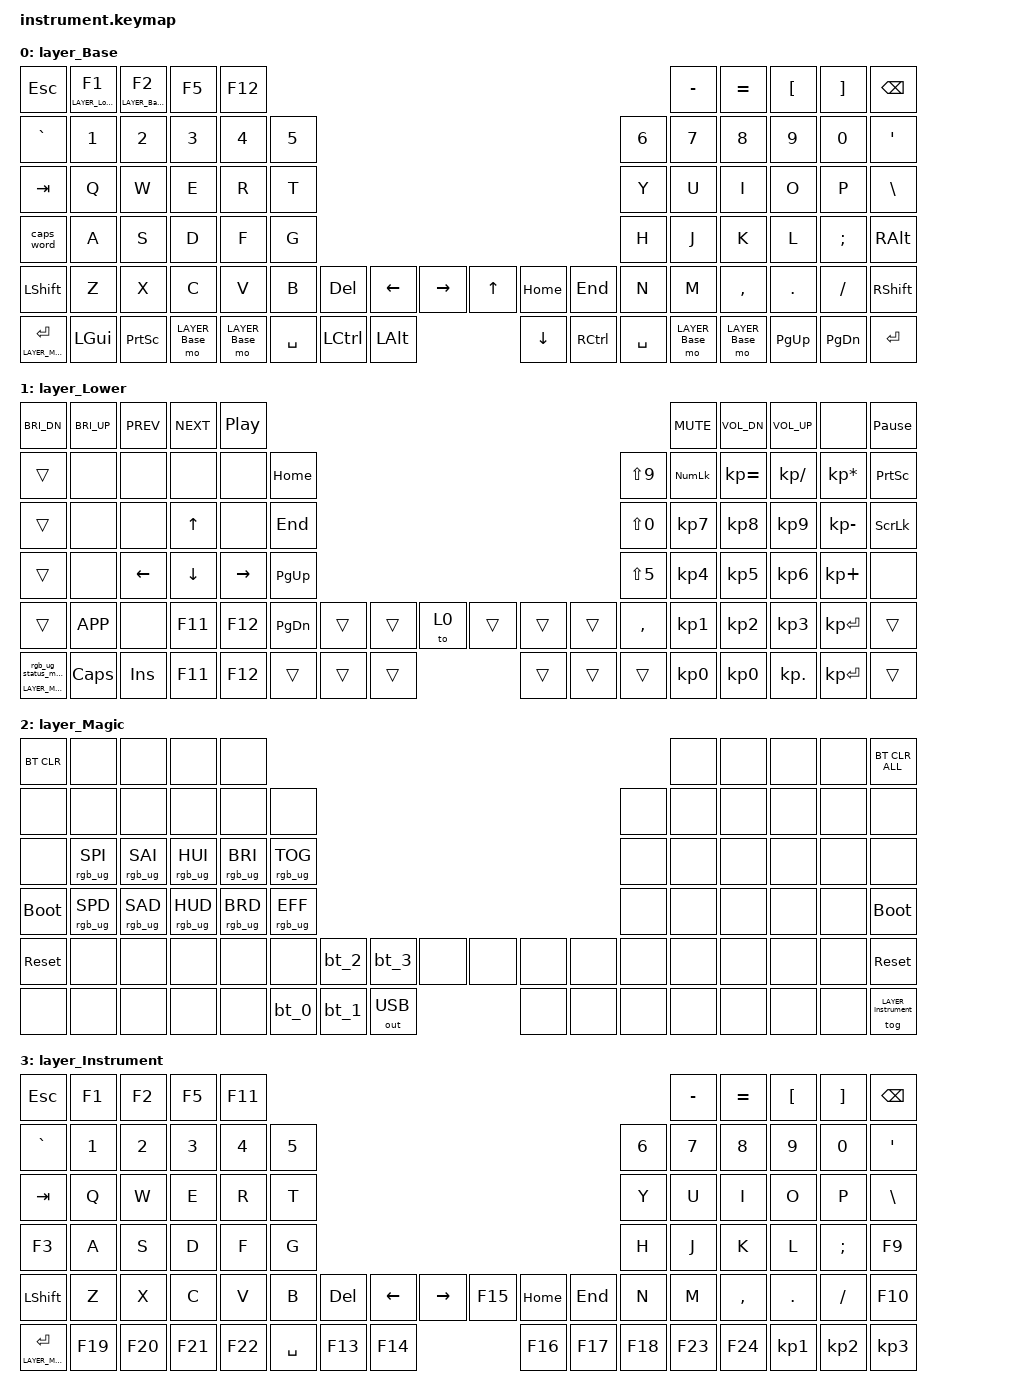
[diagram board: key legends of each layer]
/*
 * Copyright (c) 2020 The ZMK Contributors
 * Copyright (c) 2025 Innaworks Development Limited, trading as MoErgo
 *
 * SPDX-License-Identifier: MIT
 */


/* THIS FILE WAS GENERATED BY GLOVE80 LAYOUT EDITOR
 *
 * This file was generated automatically. You may or may not want to
 * edit it directly.
 */

#include <behaviors.dtsi>
/* Include all behavior includes needed */
#include <dt-bindings/zmk/outputs.h>
#include <dt-bindings/zmk/keys.h>
#include <dt-bindings/zmk/bt.h>
#include <dt-bindings/zmk/rgb.h>

/* On demand includes */


/* Helper Macros, based on https://github.com/urob/zmk-helpers/ */

#pragma once

#define ZMK_HELPER_STRINGIFY(x) #x

// Preprocessor mechanism to overload macros, cf. https://stackoverflow.com/a/27051616/6114651
#define VARGS_(_10, _9, _8, _7, _6, _5, _4, _3, _2, _1, N, ...) N
#define VARGS(...) VARGS_(__VA_ARGS__, 10, 9, 8, 7, 6, 5, 4, 3, 2, 1, 0)
#define CONCAT_(a, b) a##b
#define CONCAT(a, b) CONCAT_(a, b)

#define ZMK_BEHAVIOR_CORE_tap_dance  \
    compatible = "zmk,behavior-tap-dance"; \
    #binding-cells = <0>

#define ZMK_BEHAVIOR(name, type, ...) \
    name: name { \
        ZMK_BEHAVIOR_CORE_ ## type; \
        __VA_ARGS__ \
    };

#define ZMK_TAP_DANCE(name, ...) \
    ZMK_BEHAVIOR(name, tap_dance, __VA_ARGS__)

#define ZMK_TD_LAYER(name, layer) \
    ZMK_TAP_DANCE(name, \
        tapping-term-ms = <200>; \
        bindings = <&mo layer>, <&to layer>; \
)

/* Environment and metadata defines */
#define KB_TYPE_GLOVE_80 1
#define KB_TYPE_GO_60    2

#define KB_TYPE          KB_TYPE_GLOVE_80
#define EDITOR_HOST_OS   'L'

/* Automatically generated layer name defines */
#define LAYER_Base 0
#define LAYER_Lower 1
#define LAYER_Magic 2
#define LAYER_Instrument 3

/* To deal with the situation where there is no Lower layer, to keep &lower happy */
#ifndef LAYER_Lower
#define LAYER_Lower 0
#endif

/* Custom Device-tree */


/* Input Listeners */


/* System behavior and Macros */
/ {
    behaviors {
        ZMK_TD_LAYER(lower, LAYER_Lower)
    };
};

/ {
    macros {
        rgb_ug_status_macro: rgb_ug_status_macro {
            label = "RGB_UG_STATUS";
            compatible = "zmk,behavior-macro";
            #binding-cells = <0>;
            bindings
                = <&rgb_ug RGB_STATUS>;
        };
    };
};


/ {
#ifdef BT_DISC_CMD
    behaviors {
        bt_0: bt_0 {
            compatible = "zmk,behavior-tap-dance";
            label = "BT_0";
            #binding-cells = <0>;
            tapping-term-ms = <200>;
            bindings = <&bt_select_0>, <&bt BT_DISC 0>;
        };
        bt_1: bt_1 {
            compatible = "zmk,behavior-tap-dance";
            label = "BT_1";
            #binding-cells = <0>;
            tapping-term-ms = <200>;
            bindings = <&bt_select_1>, <&bt BT_DISC 1>;
        };
        bt_2: bt_2 {
            compatible = "zmk,behavior-tap-dance";
            label = "BT_2";
            #binding-cells = <0>;
            tapping-term-ms = <200>;
            bindings = <&bt_select_2>, <&bt BT_DISC 2>;
        };
        bt_3: bt_3 {
            compatible = "zmk,behavior-tap-dance";
            label = "BT_3";
            #binding-cells = <0>;
            tapping-term-ms = <200>;
            bindings = <&bt_select_3>, <&bt BT_DISC 3>;
        };
    };
    macros {
        bt_select_0: bt_select_0 {
            label = "BT_SELECT_0";
            compatible = "zmk,behavior-macro";
            #binding-cells = <0>;
            bindings
                = <&out OUT_BLE>,
                  <&bt BT_SEL 0>;
        };
        bt_select_1: bt_select_1 {
            label = "BT_SELECT_1";
            compatible = "zmk,behavior-macro";
            #binding-cells = <0>;
            bindings
                = <&out OUT_BLE>,
                  <&bt BT_SEL 1>;
        };
        bt_select_2: bt_select_2 {
            label = "BT_SELECT_2";
            compatible = "zmk,behavior-macro";
            #binding-cells = <0>;
            bindings
                = <&out OUT_BLE>,
                  <&bt BT_SEL 2>;
        };
        bt_select_3: bt_select_3 {
            label = "BT_SELECT_3";
            compatible = "zmk,behavior-macro";
            #binding-cells = <0>;
            bindings
                = <&out OUT_BLE>,
                  <&bt BT_SEL 3>;
        };
    };
#else
    macros {
        bt_0: bt_0 {
            label = "BT_0";
            compatible = "zmk,behavior-macro";
            #binding-cells = <0>;
            bindings
                = <&out OUT_BLE>,
                  <&bt BT_SEL 0>;
        };
        bt_1: bt_1 {
            label = "BT_1";
            compatible = "zmk,behavior-macro";
            #binding-cells = <0>;
            bindings
                = <&out OUT_BLE>,
                  <&bt BT_SEL 1>;
        };
        bt_2: bt_2 {
            label = "BT_2";
            compatible = "zmk,behavior-macro";
            #binding-cells = <0>;
            bindings
                = <&out OUT_BLE>,
                  <&bt BT_SEL 2>;
        };
        bt_3: bt_3 {
            label = "BT_3";
            compatible = "zmk,behavior-macro";
            #binding-cells = <0>;
            bindings
                = <&out OUT_BLE>,
                  <&bt BT_SEL 3>;
        };
    };
#endif
};

/ {
    behaviors {
        magic: magic {
            compatible = "zmk,behavior-hold-tap";
            label = "MAGIC_HOLD_TAP";
            #binding-cells = <2>;
            flavor = "tap-preferred";
            tapping-term-ms = <200>;
            bindings = <&mo>, <&rgb_ug_status_macro>;
        };
    };
};


/* Key positions */

#define POS_LH_C6R1 0
#define POS_LH_C5R1 1
#define POS_LH_C4R1 2
#define POS_LH_C3R1 3
#define POS_LH_C2R1 4
#define POS_RH_C2R1 5
#define POS_RH_C3R1 6
#define POS_RH_C4R1 7
#define POS_RH_C5R1 8
#define POS_RH_C6R1 9
#define POS_LH_C6R2 10
#define POS_LH_C5R2 11
#define POS_LH_C4R2 12
#define POS_LH_C3R2 13
#define POS_LH_C2R2 14
#define POS_LH_C1R2 15
#define POS_RH_C1R2 16
#define POS_RH_C2R2 17
#define POS_RH_C3R2 18
#define POS_RH_C4R2 19
#define POS_RH_C5R2 20
#define POS_RH_C6R2 21
#define POS_LH_C6R3 22
#define POS_LH_C5R3 23
#define POS_LH_C4R3 24
#define POS_LH_C3R3 25
#define POS_LH_C2R3 26
#define POS_LH_C1R3 27
#define POS_RH_C1R3 28
#define POS_RH_C2R3 29
#define POS_RH_C3R3 30
#define POS_RH_C4R3 31
#define POS_RH_C5R3 32
#define POS_RH_C6R3 33
#define POS_LH_C6R4 34
#define POS_LH_C5R4 35
#define POS_LH_C4R4 36
#define POS_LH_C3R4 37
#define POS_LH_C2R4 38
#define POS_LH_C1R4 39
#define POS_RH_C1R4 40
#define POS_RH_C2R4 41
#define POS_RH_C3R4 42
#define POS_RH_C4R4 43
#define POS_RH_C5R4 44
#define POS_RH_C6R4 45
#define POS_LH_C6R5 46
#define POS_LH_C5R5 47
#define POS_LH_C4R5 48
#define POS_LH_C3R5 49
#define POS_LH_C2R5 50
#define POS_LH_C1R5 51
#define POS_LH_T1 52
#define POS_LH_T2 53
#define POS_LH_T3 54
#define POS_RH_T3 55
#define POS_RH_T2 56
#define POS_RH_T1 57
#define POS_RH_C1R5 58
#define POS_RH_C2R5 59
#define POS_RH_C3R5 60
#define POS_RH_C4R5 61
#define POS_RH_C5R5 62
#define POS_RH_C6R5 63
#define POS_LH_C6R6 64
#define POS_LH_C5R6 65
#define POS_LH_C4R6 66
#define POS_LH_C3R6 67
#define POS_LH_C2R6 68
#define POS_LH_T4 69
#define POS_LH_T5 70
#define POS_LH_T6 71
#define POS_RH_T6 72
#define POS_RH_T5 73
#define POS_RH_T4 74
#define POS_RH_C2R6 75
#define POS_RH_C3R6 76
#define POS_RH_C4R6 77
#define POS_RH_C5R6 78
#define POS_RH_C6R6 79


/* Custom Defined Behaviors */
/ {

};

/* Generated input processors */


/* Automatically generated macro definitions */
/ {
    macros {

    };
};

/* Automatically generated behavior definitions */
/ {
    behaviors {


    };
};

/* Automatically generated combos definitions */


/* Automatically generated keymap */
/ {
    keymap {
        compatible = "zmk,keymap";


        layer_Base {
            bindings = <
             &kp ESC  &lt LAYER_Lower F1  &lt LAYER_Base F2          &kp F5         &kp F12                                                                                        &kp MINUS       &kp EQUAL   &kp LBKT   &kp RBKT   &kp BSPC
           &kp GRAVE              &kp N1             &kp N2          &kp N3          &kp N4  &kp N5                                                                   &kp N6          &kp N7          &kp N8     &kp N9     &kp N0    &kp SQT
             &kp TAB               &kp Q              &kp W           &kp E           &kp R   &kp T                                                                    &kp Y           &kp U           &kp I      &kp O      &kp P   &kp BSLH
          &caps_word               &kp A              &kp S           &kp D           &kp F   &kp G                                                                    &kp H           &kp J           &kp K      &kp L   &kp SEMI   &kp RALT
           &kp LSHFT               &kp Z              &kp X           &kp C           &kp V   &kp B    &kp DEL   &kp LEFT  &kp RIGHT    &kp UP   &kp HOME    &kp END   &kp N           &kp M       &kp COMMA    &kp DOT   &kp FSLH  &kp RSHFT
 &lt LAYER_Magic RET            &kp LGUI          &kp PSCRN  &mo LAYER_Base  &mo LAYER_Base          &kp SPACE  &kp LCTRL   &kp LALT  &kp DOWN  &kp RCTRL  &kp SPACE          &mo LAYER_Base  &mo LAYER_Base  &kp PG_UP  &kp PG_DN    &kp RET
            >;
        };

        layer_Lower {
            bindings = <
         &kp C_BRI_DN  &kp C_BRI_UP      &kp C_PREV      &kp C_NEXT         &kp C_PP                                                                         &kp C_MUTE  &kp C_VOL_DN  &kp C_VOL_UP            &none  &kp PAUSE_BREAK
               &trans         &none           &none           &none            &none   &kp HOME                                                  &kp LS(N9)  &kp KP_NUM  &kp KP_EQUAL  &kp KP_SLASH  &kp KP_MULTIPLY  &kp PRINTSCREEN
               &trans         &none           &none    &kp UP_ARROW            &none    &kp END                                                  &kp LS(N0)   &kp KP_N7     &kp KP_N8     &kp KP_N9     &kp KP_MINUS   &kp SCROLLLOCK
               &trans         &none  &kp LEFT_ARROW  &kp DOWN_ARROW  &kp RIGHT_ARROW  &kp PG_UP                                                  &kp LS(N5)   &kp KP_N4     &kp KP_N5     &kp KP_N6      &kp KP_PLUS            &none
               &trans     &kp K_APP           &none         &kp F11          &kp F12  &kp PG_DN  &trans  &trans   &to 0  &trans  &trans  &trans   &kp COMMA   &kp KP_N1     &kp KP_N2     &kp KP_N3     &kp KP_ENTER           &trans
 &magic LAYER_Magic 0      &kp CAPS         &kp INS         &kp F11          &kp F12             &trans  &trans  &trans  &trans  &trans  &trans               &kp KP_N0     &kp KP_N0    &kp KP_DOT     &kp KP_ENTER           &trans
            >;
        };

        layer_Magic {
            bindings = <
  &bt BT_CLR            &none            &none            &none            &none                                                                                  &none   &none   &none   &none  &bt BT_CLR_ALL
       &none            &none            &none            &none            &none            &none                                                         &none   &none   &none   &none   &none           &none
       &none  &rgb_ug RGB_SPI  &rgb_ug RGB_SAI  &rgb_ug RGB_HUI  &rgb_ug RGB_BRI  &rgb_ug RGB_TOG                                                         &none   &none   &none   &none   &none           &none
 &bootloader  &rgb_ug RGB_SPD  &rgb_ug RGB_SAD  &rgb_ug RGB_HUD  &rgb_ug RGB_BRD  &rgb_ug RGB_EFF                                                         &none   &none   &none   &none   &none     &bootloader
  &sys_reset            &none            &none            &none            &none            &none   &bt_2   &bt_3         &none   &none   &none   &none   &none   &none   &none   &none   &none      &sys_reset
       &none            &none            &none            &none            &none                    &bt_0   &bt_1  &out OUT_USB   &none   &none   &none           &none   &none   &none   &none  &tog LAYER_Instrument
            >;
        };

        layer_Instrument {
            // ═══════════════════════════════════════════════════════════════
            // INSTRUMENT MODE — all unique, non-modifier keycodes
            // Toggle: Magic + bottom-right key
            // ═══════════════════════════════════════════════════════════════
            //
            // R1: Controls (bridge: octave, semitone glide, reset per hand)
            //   LH: ESC=Reset  F1=Oct-  F2=Oct+  F5=Semi↓  F11=Semi↑
            //   RH: MINUS=Semi↓  EQUAL=Semi↑  LBKT=Oct-  RBKT=Oct+  BSPC=Reset
            //
            // R2-R5: Note grid (2 octave blocks per hand)
            //   LH: C2-B3  |  RH: C4-B5
            //   Bottom 2 rows = oct 1, top 2 rows = oct 2
            //   Right = whole step, up = semitone
            //
            // Thumbs: Bass register C1-A#1 (all non-modifier)
            // R6: Sub-bass G#0-B0 (LH) + grid overlap C2-D#2 (RH) + mode toggles
            //
            bindings = <
            // R1: LH controls                                                                                                                    RH controls
             &kp ESC              &kp F1              &kp F2          &kp F5         &kp F11                                                                                        &kp MINUS       &kp EQUAL   &kp LBKT   &kp RBKT   &kp BSPC
            // R2: note grid top (C#3-B3 | C#5-B5)
           &kp GRAVE              &kp N1             &kp N2          &kp N3          &kp N4  &kp N5                                                                   &kp N6          &kp N7          &kp N8     &kp N9     &kp N0    &kp SQT
            // R3: note grid upper (C3-A#3 | C5-A#5)
             &kp TAB               &kp Q              &kp W           &kp E           &kp R   &kp T                                                                    &kp Y           &kp U           &kp I      &kp O      &kp P   &kp BSLH
            // R4: note grid lower (C#2-B2 | C#4-B4) — F3=was CapsWord, F9=was RALT
             &kp F3                &kp A              &kp S           &kp D           &kp F   &kp G                                                                    &kp H           &kp J           &kp K      &kp L   &kp SEMI    &kp F9
            // R5: note grid bottom (C2-A#2 | C4-A#4) — F10=was RSHFT
           &kp LSHFT               &kp Z              &kp X           &kp C           &kp V   &kp B   &kp DEL  &kp LEFT  &kp RIGHT   &kp F15   &kp HOME    &kp END   &kp N           &kp M       &kp COMMA    &kp DOT   &kp FSLH   &kp F10
            // R6: LH toggle+bass | thumb outer | thumb outer | RH bass+toggle
 &lt LAYER_Magic RET             &kp F19           &kp F20         &kp F21         &kp F22         &kp SPACE   &kp F13   &kp F14   &kp F16   &kp F17    &kp F18            &kp F23         &kp F24    &kp KP_N1  &kp KP_N2   &kp KP_N3
            >;
        };

    };
};
